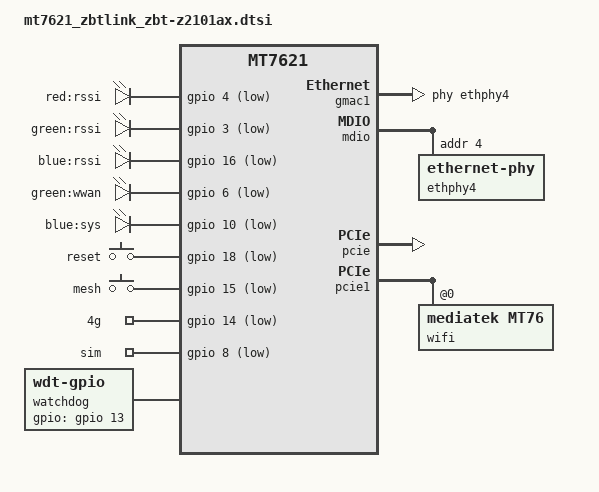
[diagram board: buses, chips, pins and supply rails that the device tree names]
// SPDX-License-Identifier: GPL-2.0-or-later OR MIT

#include "mt7621.dtsi"
#include <dt-bindings/gpio/gpio.h>
#include <dt-bindings/input/input.h>

/ {
	compatible = "zbtlink,zbt-z2101ax", "mediatek,mt7621-soc";
	
	aliases {
		led-boot = &led_sys;
		led-failsafe = &led_sys;
		led-running = &led_sys;
		led-upgrade = &led_sys;
		label-mac-device = &gmac0;
	};

	chosen {
		bootargs = "console=ttyS0,115200";
	};

	gpio-leds {
		compatible = "gpio-leds";

			red {
				label = "red:rssi";
				gpios = <&gpio 4 GPIO_ACTIVE_LOW>;
			};
			green {
				label = "green:rssi";
				gpios = <&gpio 3 GPIO_ACTIVE_LOW>;
			};
			blue {
				label = "blue:rssi";
				gpios = <&gpio 16 GPIO_ACTIVE_LOW>;
			};
			wwan {
				label = "green:wwan";
				gpios = <&gpio 6 GPIO_ACTIVE_LOW>;
			};
			led_sys: sys {
				label = "blue:sys";
				gpios = <&gpio 10 GPIO_ACTIVE_LOW>;
			};
	};

	gpio-keys-polled {
		compatible = "gpio-keys-polled";
		#address-cells = <1>;
		#size-cells = <0>;
		poll-interval = <20>;

		reset {
			label = "reset";
			gpios = <&gpio 18 GPIO_ACTIVE_LOW>;
			linux,code = <KEY_RESTART>;
		};
		mesh {
			label = "mesh";
			gpios = <&gpio 15 GPIO_ACTIVE_LOW>;
			linux,code = <BTN_0>;
		};
	};

	gpio_export {
		compatible = "gpio-export";
		modempwr {
			gpio-export,name = "4g";
			gpio-export,output = <1>;
			gpios = <&gpio 14 GPIO_ACTIVE_LOW>;
		};
			
		simpwr {
			gpio-export,name = "sim";
			gpio-export,output = <1>;
			gpios = <&gpio 8 GPIO_ACTIVE_LOW>;
           };
	};
		
	watchdog {
		compatible = "linux,wdt-gpio";
		gpios = <&gpio 13 GPIO_ACTIVE_HIGH>;
		hw_algo = "toggle";
		/* hw_margin_ms is actually ~120s but driver limits it to 60s */
		hw_margin_ms = <60000>;
		always-running;
	};

};


&gmac0 {
	nvmem-cells = <&macaddr_factory_8004>;
	nvmem-cell-names = "mac-address";
};

&gmac1 {
	status = "okay";
	label = "wan";
	phy-handle = <&ethphy4>;

	nvmem-cells = <&macaddr_factory_4>;
	nvmem-cell-names = "mac-address";
};


&mdio {
	ethphy4: ethernet-phy@4 {
		reg = <4>;
	};
};

&state_default {
	gpio {
		groups = "i2c", "jtag", "uart2", "uart3";
		function = "gpio";
	};
};

&pcie {
	status = "okay";
};

&pcie1 {
	wifi@0,0 {
		compatible = "mediatek,mt76";
		reg = <0x0000 0 0 0 0>;
		mediatek,mtd-eeprom = <&factory 0x0>;
		mediatek,disable-radar-background;
		nvmem-cells = <&macaddr_factory_8004>;
		nvmem-cell-names = "mac-address";
		mac-address-increment = <(1)>;
	};
};


&switch0 {
	ports {
		port@1 {
			status = "okay";
			label = "lan1";
		};

		port@2 {
			status = "okay";
			label = "lan2";
		};

		port@3 {
			status = "okay";
			label = "lan3";
		};

	};
};
